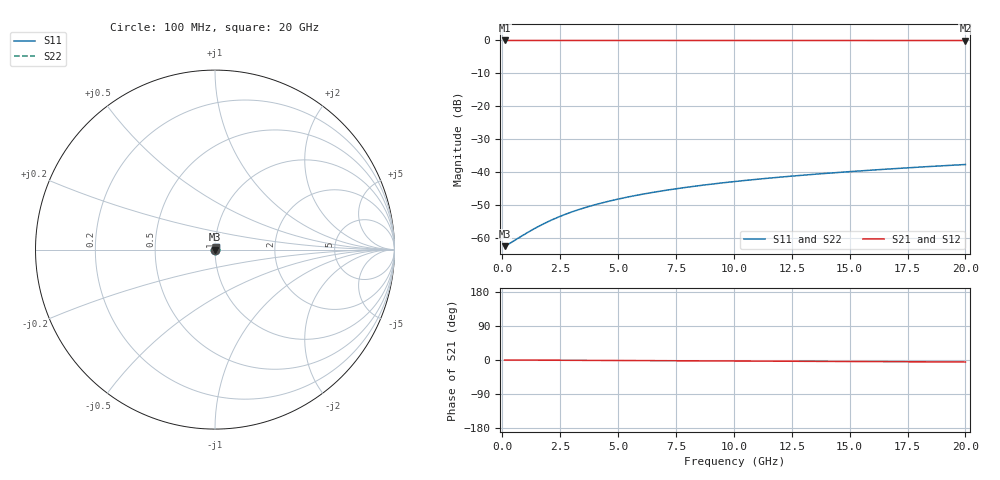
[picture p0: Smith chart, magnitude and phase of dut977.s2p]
! Touchstone file exported from HFSS 2026.1.0
!  File:  C:/ffzhzh/LocalFiles/Ansys_Project_Files/temp_train_TSV_977_1783187887_22436.aedt
!  Generated:  01:59:59 AM Jul  5, 2026
!  Design:  TSV
!  Project:  temp_train_TSV_977_1783187887_22436
! Variables:
!  h_bsmrdl = 2um
!  h_ox = 20um
!  h_rdl = 5um
!  h_sub = 55.42um
!  h_tmrdl = 5um
!  h_tsv = 55.42um
!  h_via = 3um
!  l_bsmrdl = 300um
!  l_sub = 405.94um
!  l_tmrdl = 200um
!  m_sub = 200um
!  pitch = 14.5um
!  r_tsv = 2.97um
!  s_tmrdl = 10um
!  w_bsmrdl = 18um
!  w_sub = 500um
!  w_tmrdl = 12um
!  x_tsv_center1 = 206um
!  x_tsv_center2 = 524um
!  x_tsv_center3 = 736um
!  x_tsv_center4 = 1054um
!  x_tsv_center5 = 1266um
!  x_tsv_center6 = 1584um
# GHz S MA R 50.000000
! Terminal data exported
! Port[1] = TSV1_1_T1
! Port[2] = TSV1_1_T2
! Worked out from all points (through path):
!   200 points, 100 MHz to 20 GHz, reference 50 ohm
!   highest |S21| = -0.01 dB at 100 MHz (marker M1); lowest = 0.0 dB at 20 GHz (marker M2)
!   lowest |S11| = -62.4 dB at 100 MHz (marker M3), VSWR 1.00, Z = 50.1 + j0.00974 ohm
!   |S11| at or under -10 dB: start of sweep to end of sweep
!   |S22| runs from -62.4 to -37.6 dB; largest |S21 - S12| = 2.2e-15
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0.1  0.0007609 7.3  0.9992 -0.0  0.9992 -0.0  0.0007609 7.3
! Gamma 0 0 0 0
! Port Impedance 50 0 50 0
0.2  0.0007891 13.9  0.9992 -0.1  0.9992 -0.1  0.0007891 13.9
0.3  0.0008277 19.5  0.9992 -0.1  0.9992 -0.1  0.0008277 19.5
0.8  0.001065 38.3  0.9992 -0.2  0.9992 -0.2  0.001065 38.3
1.3  0.00135 50.0  0.9991 -0.4  0.9991 -0.4  0.00135 50.0
1.6  0.00154 54.8  0.9991 -0.4  0.9991 -0.4  0.00154 54.8
1.9  0.00174 58.5  0.9991 -0.5  0.9991 -0.5  0.00174 58.5
2.3  0.002015 62.1  0.9991 -0.6  0.9991 -0.6  0.002015 62.1
2.7  0.002297 64.8  0.999 -0.7  0.999 -0.7  0.002297 64.8
3.1  0.002583 66.7  0.999 -0.8  0.999 -0.8  0.002583 66.7
3.5  0.002869 68.2  0.999 -0.9  0.999 -0.9  0.002869 68.2
4.2  0.00337 70.0  0.9989 -1.1  0.9989 -1.1  0.00337 70.0
5  0.003936 71.3  0.9988 -1.4  0.9988 -1.4  0.003936 71.3
5.9  0.004562 72.1  0.9987 -1.6  0.9987 -1.6  0.004562 72.1
6.8  0.005174 72.6  0.9986 -1.8  0.9986 -1.8  0.005174 72.6
8.3  0.006163 73.1  0.9984 -2.2  0.9984 -2.2  0.006163 73.1
10.1  0.007306 73.3  0.9982 -2.7  0.9982 -2.7  0.007306 73.3
11.7  0.008291 73.4  0.998 -3.1  0.998 -3.1  0.008291 73.4
13.4  0.009315 73.5  0.9979 -3.6  0.9979 -3.6  0.009315 73.5
15  0.01026 73.5  0.9977 -4.0  0.9977 -4.0  0.01026 73.5
16.7  0.01126 73.4  0.9976 -4.4  0.9976 -4.4  0.01126 73.4
20  0.01316 73.3  0.9973 -5.3  0.9973 -5.3  0.01316 73.3
